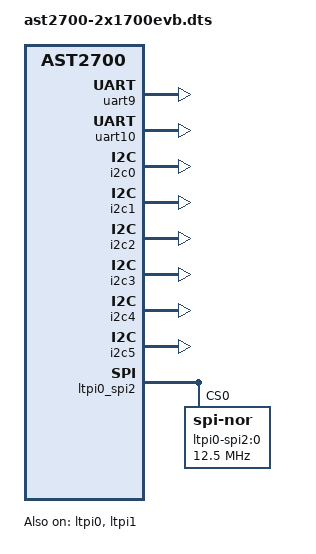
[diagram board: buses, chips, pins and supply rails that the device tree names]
// SPDX-License-Identifier: GPL-2.0-or-later

/dts-v1/;

#include "ast2700-evb.dts"
#include "aspeed-ltpi0.dtsi"
#include "aspeed-ltpi1.dtsi"

&ltpi0 {
	status = "okay";
};

&ltpi1 {
	status = "okay";
};

&uart9 {
	/delete-property/ pinctrl-names;
	/delete-property/ pinctrl-0;
	status = "okay";
};

&uart10 {
	/delete-property/ pinctrl-names;
	/delete-property/ pinctrl-0;
	status = "okay";
};

&i2c0 {
	/delete-property/ pinctrl-names;
	/delete-property/ pinctrl-0;
	status = "okay";
};

&i2c1 {
	/delete-property/ pinctrl-names;
	/delete-property/ pinctrl-0;
	status = "okay";
};

&i2c2 {
	/delete-property/ pinctrl-names;
	/delete-property/ pinctrl-0;
	status = "okay";
};

&i2c3 {
	/delete-property/ pinctrl-names;
	/delete-property/ pinctrl-0;
	status = "okay";
};

&i2c4 {
	/delete-property/ pinctrl-names;
	/delete-property/ pinctrl-0;
	status = "okay";
};

&i2c5 {
	/delete-property/ pinctrl-names;
	/delete-property/ pinctrl-0;
	status = "okay";
};

&ltpi0_spi2 {
	compatible = "aspeed,ast2700-spi";
	status = "okay";

	flash@0 {
		status = "okay";
		reg = < 0 >;
		compatible = "jedec,spi-nor";
		m25p,fast-read;
		label = "ltpi0-spi2:0";
		spi-max-frequency = <12500000>;
		spi-tx-bus-width = <2>;
		spi-rx-bus-width = <2>;
	};
};
